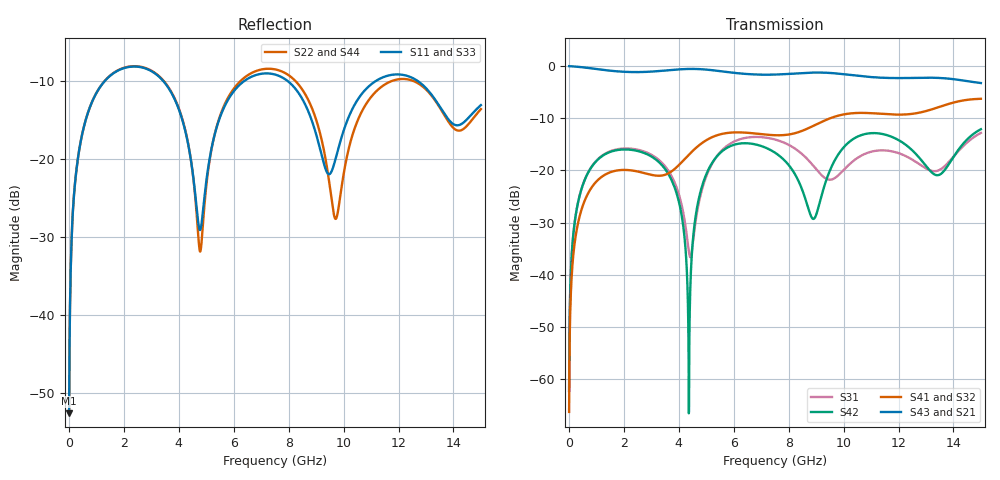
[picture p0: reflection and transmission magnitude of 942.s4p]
! Created with skrf 1.8.0 (http://scikit-rf.org).
# GHz S RI R 50.0
!freq ReS11 ImS11 ReS12 ImS12 ReS13 ImS13
! ReS14 ImS14
! ReS21 ImS21 ReS22 ImS22 ReS23 ImS23
! ReS24 ImS24
! ReS31 ImS31 ReS32 ImS32 ReS33 ImS33
! ReS34 ImS34
! ReS41 ImS41 ReS42 ImS42 ReS43 ImS43
! ReS44 ImS44
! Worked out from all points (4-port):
!   2499 points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, 5 MHz to 15 GHz, reference 50 ohm
!   strongest paths, dB at 5 MHz, 3.476 GHz, 7.19 GHz, 11.1 GHz, 15 GHz:
!     S43: 0.0, -0.9, -1.6, -2.1, -3.2
!     S21: 0.0, -0.9, -1.7, -2.1, -3.3
!     S41: -66.3, -20.9, -13.1, -9.1, -6.3
!     S32: -66.3, -21.0, -13.3, -9.1, -6.3
!     S42: -62.2, -19.6, -15.7, -12.8, -12.1
!     S31: -62.2, -19.0, -13.7, -16.3, -12.8
!   lowest |S11| = -52.6 dB at 5 MHz (marker M1), VSWR 1.00, Z = 50.2 + j0.143 ohm
!   |S11| at or under -10 dB: 3.425 GHz to 6.394 GHz (2.969 GHz wide, 60.5 % of centre); 7.951 GHz to 11.19 GHz (3.235 GHz wide, 33.8 % of centre); 12.69 GHz to end of sweep (the widest 3 of 4)
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0.005  0.00188 0.00142  0.9981 -0.00365  9.59e-05 0.000767  -9.29e-05 -0.000478
       0.9981 -0.00365  0.00188 0.00142  -9.29e-05 -0.000478  9.57e-05 0.000767
       9.59e-05 0.000767  -9.29e-05 -0.000478  0.00188 0.00142  0.9981 -0.00365
       -9.29e-05 -0.000478  9.57e-05 0.000767  0.9981 -0.00365  0.00188 0.00142
1.369321  0.2721 0.1764  0.542 -0.7325  0.1351 0.0587  -0.0927 -0.00484
          0.542 -0.7325  0.2742 0.175  -0.0925 -0.00509  0.1296 0.0663
          0.1351 0.0587  -0.0925 -0.00509  0.2723 0.1763  0.5421 -0.7325
          -0.0927 -0.00484  0.1296 0.0663  0.5421 -0.7325  0.274 0.1751
3.688182  0.2042 -0.1808  -0.625 -0.669  0.0408 -0.0836  -0.0471 0.0838
          -0.625 -0.669  0.1995 -0.19  -0.0489 0.0818  0.0573 -0.0638
          0.0408 -0.0836  -0.0489 0.0818  0.2035 -0.1815  -0.6251 -0.6691
          -0.0471 0.0838  0.0573 -0.0638  -0.6251 -0.6691  0.1997 -0.189
4.364318  0.0615 -0.1005  -0.879 -0.3298  -0.0142 -0.00894  -0.0435 0.1346
          -0.879 -0.3298  0.0528 -0.1066  -0.047 0.1334  0.000236 -0.000408
          -0.0142 -0.00894  -0.047 0.1334  0.0605 -0.1007  -0.879 -0.3299
          -0.0435 0.1346  0.000236 -0.000408  -0.879 -0.3299  0.0536 -0.106
5.439767  0.1119 0.1313  -0.8331 0.3371  0.1015 0.1005  0.1115 0.1889
          -0.8331 0.3371  0.1079 0.1376  0.1066 0.1911  0.0878 0.111
          0.1015 0.1005  0.1066 0.1911  0.1118 0.1321  -0.8332 0.3368
          0.1115 0.1889  0.0878 0.111  -0.8332 0.3368  0.1078 0.1367
9.660275  0.0851 0.0383  0.8485 0.0898  -0.0561 0.0625  0.0172 -0.326
          0.8485 0.0898  0.0402 -0.0154  0.0343 -0.3248  0.0752 0.0967
          -0.0561 0.0625  0.0343 -0.3248  0.0794 0.0425  0.8486 0.0894
          0.0172 -0.326  0.0752 0.0967  0.8486 0.0894  0.0425 -0.0135
15  0.2189 0.0294  -0.6815 0.0936  0.1031 0.2047  0.1295 0.4682
    -0.6815 0.0936  0.2026 0.0484  0.0965 0.4744  0.1045 0.2255
    0.1031 0.2047  0.0965 0.4744  0.2211 0.0392  -0.682 0.0911
    0.1295 0.4682  0.1045 0.2255  -0.682 0.0911  0.1997 0.0372
